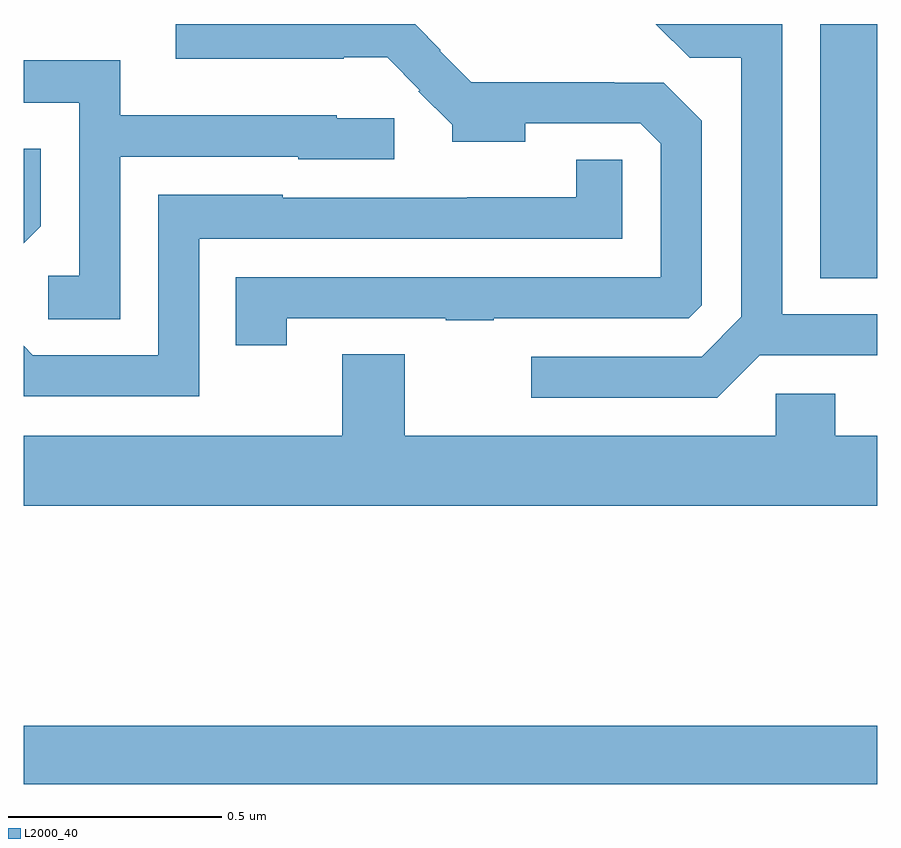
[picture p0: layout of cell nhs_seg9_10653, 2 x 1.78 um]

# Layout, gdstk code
import gdstk
lib = gdstk.Library(unit=1e-6, precision=1e-09)
def R(c, l, rs):  # rectangles x0, y0, x1, y1
    for r in rs: c.add(gdstk.rectangle(r[:2], r[2:], *l))
def P(c, l, *ps):  # polygons
    for p in ps: c.add(gdstk.Polygon(p, *l))
L2000_40 = (2000, 40)

nhs_seg9_10653 = lib.new_cell('nhs_seg9_10653')
R(nhs_seg9_10653, L2000_40, [(245,1243.72,247,1243.856), (246.866,1244.905,247,1245.5)])
P(nhs_seg9_10653, L2000_40, [(245.616,1244.811),(245.989,1244.811),(245.989,1244.806),(246.101,1244.806),(246.101,1244.811),(246.558,1244.811),(246.588,1244.841),(246.588,1245.273),(246.499,1245.362),(246.383,1245.362),(246.383,1245.364),(246.049,1245.364),(245.975,1245.437),(245.977,1245.439),(245.917,1245.5),(245.357,1245.5),(245.357,1245.419),(245.75,1245.419),(245.75,1245.422),(245.852,1245.422),(245.928,1245.345),(245.925,1245.342),(246.004,1245.264),(246.004,1245.224),(246.175,1245.224),(246.175,1245.267),(246.444,1245.267),(246.492,1245.219),(246.492,1244.907),(245.497,1244.907),(245.497,1244.748),(245.616,1244.748)],
  [(246.724,1244.724),(247,1244.724),(247,1244.82),(246.777,1244.82),(246.777,1245.5),(246.481,1245.5),(246.56,1245.421),(246.681,1245.421),(246.681,1244.814),(246.588,1244.721),(246.189,1244.721),(246.189,1244.625),(246.625,1244.625)],
  [(245.226,1245.189),(245.643,1245.189),(245.643,1245.183),(245.868,1245.183),(245.868,1245.279),(245.733,1245.279),(245.733,1245.286),(245.227,1245.286),(245.227,1245.415),(245,1245.415),(245,1245.315),(245.13,1245.315),(245.13,1244.91),(245.058,1244.91),(245.058,1244.809),(245.226,1244.809)],
  [(245.04,1245.026),(245.04,1245.208),(245,1245.208),(245,1244.986)],
  [(245.412,1244.997),(246.402,1244.997),(246.402,1245.182),(246.294,1245.182),(246.294,1245.094),(246.039,1245.094),(246.039,1245.093),(245.607,1245.093),(245.607,1245.1),(245.316,1245.1),(245.316,1244.724),(245.022,1244.724),(245,1244.746),(245,1244.628),(245.412,1244.628)],
  [(247,1244.536),(246.901,1244.536),(246.901,1244.634),(246.762,1244.634),(246.762,1244.536),(245.893,1244.536),(245.893,1244.726),(245.746,1244.726),(245.746,1244.536),(245,1244.536),(245,1244.372),(247,1244.372)])

lib.write_gds('nhs_seg9_10653.gds')
